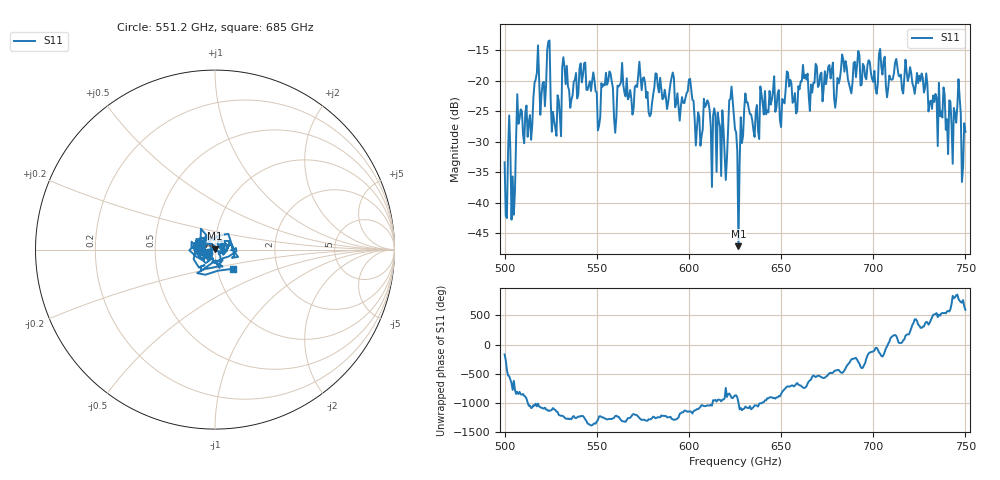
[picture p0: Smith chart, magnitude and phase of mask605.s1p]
!Created with skrf (http://scikit-rf.org).
# GHz S MA R 50.0
!freq magS11 angS11
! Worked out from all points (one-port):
!   401 points, 500 GHz to 750 GHz, reference 50 ohm
!   lowest |S11| = -47.2 dB at 626.9 GHz (marker M1), VSWR 1.01, Z = 50 + j0.438 ohm
!   |S11| at or under -10 dB: start of sweep to end of sweep
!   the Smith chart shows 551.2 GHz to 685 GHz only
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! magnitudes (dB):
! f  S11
! 500 GHz  -33.4
! 505 GHz  -42.0
! 507.5 GHz  -27.1
! 513.8 GHz  -25.6
! 517.5 GHz  -18.7
! 520.6 GHz  -20.4
! 523.8 GHz  -13.5
! 526.9 GHz  -26.6
! 531.2 GHz  -17.8
! 542.5 GHz  -19.1
! 550.6 GHz  -28.1
! 562.5 GHz  -20.7
! 593.8 GHz  -22.1
! 600 GHz  -19.8
! 605 GHz  -25.2
! 609.4 GHz  -23.9
! 618.8 GHz  -27.8
! 623.1 GHz  -21.0
! 625 GHz  -28.0
! 626.9 GHz  -47.2
! 631.2 GHz  -23.5
! 636.9 GHz  -24.0
! 656.2 GHz  -23.6
! 687.5 GHz  -21.3
! 718.8 GHz  -20.0
! 741.9 GHz  -23.4
! 746.2 GHz  -19.7
! 750 GHz  -28.4
